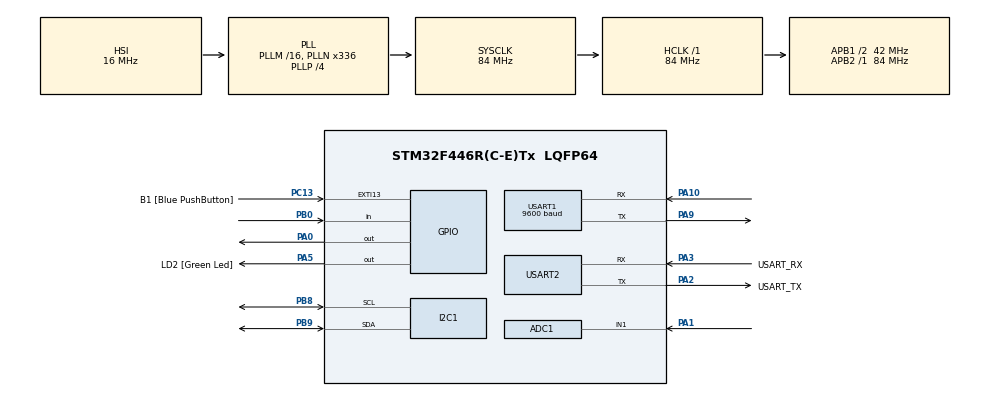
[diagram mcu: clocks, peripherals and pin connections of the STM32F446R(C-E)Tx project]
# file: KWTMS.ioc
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ADC1.Channel-0\#ChannelRegularConversion=ADC_CHANNEL_1
ADC1.ContinuousConvMode=ENABLE
ADC1.NbrOfConversionFlag=1
ADC1.Rank-0\#ChannelRegularConversion=1
ADC1.SamplingTime-0\#ChannelRegularConversion=ADC_SAMPLETIME_3CYCLES
ADC1.master=1
Mcu.Family=STM32F4
Mcu.Name=STM32F446R(C-E)Tx
Mcu.Package=LQFP64
NVIC.PriorityGroup=NVIC_PRIORITYGROUP_0
PA0-WKUP.Signal=GPIO_Output
PA1.Signal=ADCx_IN1
PA10.Mode=Asynchronous
PA10.Signal=USART1_RX
PA13.GPIO_Label=TMS
PA13.Mode=Serial_Wire
PA13.Signal=SYS_JTMS-SWDIO
PA14.GPIO_Label=TCK
PA14.Mode=Serial_Wire
PA14.Signal=SYS_JTCK-SWCLK
PA2.GPIO_Label=USART_TX
PA2.Mode=Asynchronous
PA2.Signal=USART2_TX
PA3.GPIO_Label=USART_RX
PA3.Mode=Asynchronous
PA3.Signal=USART2_RX
PA5.GPIO_Label=LD2 [Green Led]
PA5.GPIO_PuPd=GPIO_PULLUP
PA5.Signal=GPIO_Output
PA9.Mode=Asynchronous
PA9.Signal=USART1_TX
PB0.GPIO_PuPd=GPIO_PULLUP
PB0.Signal=GPIO_Input
PB3.GPIO_Label=SWO
PB3.Signal=SYS_JTDO-SWO
PB8.Mode=I2C
PB8.Signal=I2C1_SCL
PB9.Mode=I2C
PB9.Signal=I2C1_SDA
PC13.GPIO_Label=B1 [Blue PushButton]
PC13.GPIO_ModeDefaultEXTI=GPIO_MODE_IT_FALLING
PC13.GPIO_PuPd=GPIO_PULLUP
PC13.Signal=GPXTI13
PC14-OSC32_IN.Mode=LSE-External-Oscillator
PC14-OSC32_IN.Signal=RCC_OSC32_IN
PC15-OSC32_OUT.Mode=LSE-External-Oscillator
PC15-OSC32_OUT.Signal=RCC_OSC32_OUT
PH0-OSC_IN.Mode=HSE-External-Oscillator
PH0-OSC_IN.Signal=RCC_OSC_IN
PH1-OSC_OUT.Mode=HSE-External-Oscillator
PH1-OSC_OUT.Signal=RCC_OSC_OUT
ProjectManager.HeapSize=0x200
ProjectManager.StackSize=0x400
ProjectManager.TargetToolchain=STM32CubeIDE
RCC.48MHZClocksFreq_Value=84000000
RCC.AHBFreq_Value=84000000
RCC.APB1CLKDivider=RCC_HCLK_DIV2
RCC.APB1Freq_Value=42000000
RCC.APB1TimFreq_Value=84000000
RCC.APB2Freq_Value=84000000
RCC.APB2TimFreq_Value=84000000
RCC.CortexFreq_Value=84000000
RCC.FLatency-AdvancedSettings=FLASH_LATENCY_2
RCC.HCLKFreq_Value=84000000
RCC.HSE_VALUE=8000000
RCC.HSI_VALUE=16000000
RCC.PLLN=336
RCC.PLLP=RCC_PLLP_DIV4
RCC.SYSCLKFreq_VALUE=84000000
RCC.SYSCLKSource=RCC_SYSCLKSOURCE_PLLCLK
RCC.USBFreq_Value=168000000
RCC.VCOOutputFreq_Value=336000000
SH.ADCx_IN1.0=ADC1_IN1,IN1
USART1.BaudRate=9600
USART1.Mode=MODE_TX
USART1.VirtualMode=VM_ASYNC
USART2.VirtualMode=VM_ASYNC
board=NUCLEO-F446RE

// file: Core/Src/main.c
/* USER CODE BEGIN Header */
/**
  ******************************************************************************
  * @file           : main.c
  * @brief          : Main program body
  ******************************************************************************
  * @attention
  *
  * Copyright (c) 2026 STMicroelectronics.
  * All rights reserved.
  *
  * This software is licensed under terms that can be found in the LICENSE file
  * in the root directory of this software component.
  * If no LICENSE file comes with this software, it is provided AS-IS.
  *
  ******************************************************************************
  */
/* USER CODE END Header */
#include "main.h"

/* USER CODE BEGIN Includes */
#include "oled_display.h"
#include "mode.h"
#include "rtd.h"
#include "ebyte_lora.h"
/* USER CODE END Includes */

ADC_HandleTypeDef hadc1;

I2C_HandleTypeDef hi2c1;

UART_HandleTypeDef huart1;
UART_HandleTypeDef huart2;

void SystemClock_Config(void);
static void MX_GPIO_Init(void);
static void MX_USART2_UART_Init(void);
static void MX_I2C1_Init(void);
static void MX_ADC1_Init(void);
static void MX_USART1_UART_Init(void);
/* USER CODE BEGIN PFP */
void SSD1306_Clear(void);
void SSD1306_DisplayMAC(void);
void SSD1306_DrawScrollingText(void);
void SSD1306_DisplayTemperature(float temp);
float ReadTemperature(void);
void CheckButton(void);

void LoRa_SendTemperature(float temp);
/* USER CODE END PFP */

int main(void)
{

  /* MCU Configuration--------------------------------------------------------*/

  /* Reset of all peripherals, Initializes the Flash interface and the Systick. */
  HAL_Init();

  /* Configure the system clock */
  SystemClock_Config();

  /* Initialize all configured peripherals */
  MX_GPIO_Init();
  MX_USART2_UART_Init();
  MX_I2C1_Init();
  MX_ADC1_Init();
  MX_USART1_UART_Init();
  /* USER CODE BEGIN 2 */
  SSD1306_Init();

  /* LED OFF during boot */
  HAL_GPIO_WritePin(GPIOA, GPIO_PIN_0, GPIO_PIN_RESET);

  SSD1306_DisplayImage(image);
  HAL_Delay(5000);

  /* LED ON after logo disappears */
  HAL_GPIO_WritePin(GPIOA, GPIO_PIN_0, GPIO_PIN_SET);

  SSD1306_Clear();

  /* USER CODE END 2 */

  /* Infinite loop */
  /* USER CODE BEGIN WHILE */
  float temperature = 0;

  while (1)
  {
    /* USER CODE END WHILE */
	  CheckButton();

	  	  	    if(currentPage != lastPage)
	  	  	    {
	  	  	        SSD1306_Clear();
	  	  	        lastPage = currentPage;
	  	  	    }

	  	  	    temperature = ReadTemperature();

	  	  	    if(currentPage == 1)
	  	  	    {
	  	  	        SSD1306_DisplayTemperature(temperature);
	  	  	        SSD1306_DrawScrollingText();
	  	  	    }
	  	  	    else
	  	  	    {
	  	  	        SSD1306_DisplayMAC();
	  	  	        SSD1306_DrawScrollingText();
	  	  	    }

	  	  	    LoRa_SendTemperature(temperature);

	  	  	    HAL_Delay(100);
  }
}

void SystemClock_Config(void)
{
  RCC_OscInitTypeDef RCC_OscInitStruct = {0};
  RCC_ClkInitTypeDef RCC_ClkInitStruct = {0};

  /** Configure the main internal regulator output voltage
  */
  __HAL_RCC_PWR_CLK_ENABLE();
  __HAL_PWR_VOLTAGESCALING_CONFIG(PWR_REGULATOR_VOLTAGE_SCALE3);

  /** Initializes the RCC Oscillators according to the specified parameters
  * in the RCC_OscInitTypeDef structure.
  */
  RCC_OscInitStruct.OscillatorType = RCC_OSCILLATORTYPE_HSI;
  RCC_OscInitStruct.HSIState = RCC_HSI_ON;
  RCC_OscInitStruct.HSICalibrationValue = RCC_HSICALIBRATION_DEFAULT;
  RCC_OscInitStruct.PLL.PLLState = RCC_PLL_ON;
  RCC_OscInitStruct.PLL.PLLSource = RCC_PLLSOURCE_HSI;
  RCC_OscInitStruct.PLL.PLLM = 16;
  RCC_OscInitStruct.PLL.PLLN = 336;
  RCC_OscInitStruct.PLL.PLLP = RCC_PLLP_DIV4;
  RCC_OscInitStruct.PLL.PLLQ = 2;
  RCC_OscInitStruct.PLL.PLLR = 2;
  if (HAL_RCC_OscConfig(&RCC_OscInitStruct) != HAL_OK)
  {
    Error_Handler();
  }

  /** Initializes the CPU, AHB and APB buses clocks
  */
  RCC_ClkInitStruct.ClockType = RCC_CLOCKTYPE_HCLK|RCC_CLOCKTYPE_SYSCLK
                              |RCC_CLOCKTYPE_PCLK1|RCC_CLOCKTYPE_PCLK2;
  RCC_ClkInitStruct.SYSCLKSource = RCC_SYSCLKSOURCE_PLLCLK;
  RCC_ClkInitStruct.AHBCLKDivider = RCC_SYSCLK_DIV1;
  RCC_ClkInitStruct.APB1CLKDivider = RCC_HCLK_DIV2;
  RCC_ClkInitStruct.APB2CLKDivider = RCC_HCLK_DIV1;

  if (HAL_RCC_ClockConfig(&RCC_ClkInitStruct, FLASH_LATENCY_2) != HAL_OK)
  {
    Error_Handler();
  }
}

static void MX_ADC1_Init(void)
{

  ADC_ChannelConfTypeDef sConfig = {0};

  /** Configure the global features of the ADC (Clock, Resolution, Data Alignment and number of conversion)
  */
  hadc1.Instance = ADC1;
  hadc1.Init.ClockPrescaler = ADC_CLOCK_SYNC_PCLK_DIV4;
  hadc1.Init.Resolution = ADC_RESOLUTION_12B;
  hadc1.Init.ScanConvMode = DISABLE;
  hadc1.Init.ContinuousConvMode = ENABLE;
  hadc1.Init.DiscontinuousConvMode = DISABLE;
  hadc1.Init.ExternalTrigConvEdge = ADC_EXTERNALTRIGCONVEDGE_NONE;
  hadc1.Init.ExternalTrigConv = ADC_SOFTWARE_START;
  hadc1.Init.DataAlign = ADC_DATAALIGN_RIGHT;
  hadc1.Init.NbrOfConversion = 1;
  hadc1.Init.DMAContinuousRequests = DISABLE;
  hadc1.Init.EOCSelection = ADC_EOC_SINGLE_CONV;
  if (HAL_ADC_Init(&hadc1) != HAL_OK)
  {
    Error_Handler();
  }

  /** Configure for the selected ADC regular channel its corresponding rank in the sequencer and its sample time.
  */
  sConfig.Channel = ADC_CHANNEL_1;
  sConfig.Rank = 1;
  sConfig.SamplingTime = ADC_SAMPLETIME_3CYCLES;
  if (HAL_ADC_ConfigChannel(&hadc1, &sConfig) != HAL_OK)
  {
    Error_Handler();
  }

}

static void MX_I2C1_Init(void)
{

  hi2c1.Instance = I2C1;
  hi2c1.Init.ClockSpeed = 100000;
  hi2c1.Init.DutyCycle = I2C_DUTYCYCLE_2;
  hi2c1.Init.OwnAddress1 = 0;
  hi2c1.Init.AddressingMode = I2C_ADDRESSINGMODE_7BIT;
  hi2c1.Init.DualAddressMode = I2C_DUALADDRESS_DISABLE;
  hi2c1.Init.OwnAddress2 = 0;
  hi2c1.Init.GeneralCallMode = I2C_GENERALCALL_DISABLE;
  hi2c1.Init.NoStretchMode = I2C_NOSTRETCH_DISABLE;
  if (HAL_I2C_Init(&hi2c1) != HAL_OK)
  {
    Error_Handler();
  }

}

static void MX_USART1_UART_Init(void)
{

  huart1.Instance = USART1;
  huart1.Init.BaudRate = 9600;
  huart1.Init.WordLength = UART_WORDLENGTH_8B;
  huart1.Init.StopBits = UART_STOPBITS_1;
  huart1.Init.Parity = UART_PARITY_NONE;
  huart1.Init.Mode = UART_MODE_TX;
  huart1.Init.HwFlowCtl = UART_HWCONTROL_NONE;
  huart1.Init.OverSampling = UART_OVERSAMPLING_16;
  if (HAL_UART_Init(&huart1) != HAL_OK)
  {
    Error_Handler();
  }

}

static void MX_USART2_UART_Init(void)
{

  huart2.Instance = USART2;
  huart2.Init.BaudRate = 115200;
  huart2.Init.WordLength = UART_WORDLENGTH_8B;
  huart2.Init.StopBits = UART_STOPBITS_1;
  huart2.Init.Parity = UART_PARITY_NONE;
  huart2.Init.Mode = UART_MODE_TX_RX;
  huart2.Init.HwFlowCtl = UART_HWCONTROL_NONE;
  huart2.Init.OverSampling = UART_OVERSAMPLING_16;
  if (HAL_UART_Init(&huart2) != HAL_OK)
  {
    Error_Handler();
  }

}

static void MX_GPIO_Init(void)
{
  GPIO_InitTypeDef GPIO_InitStruct = {0};

  /* GPIO Ports Clock Enable */
  __HAL_RCC_GPIOC_CLK_ENABLE();
  __HAL_RCC_GPIOH_CLK_ENABLE();
  __HAL_RCC_GPIOA_CLK_ENABLE();
  __HAL_RCC_GPIOB_CLK_ENABLE();

  /*Configure GPIO pin Output Level */
  HAL_GPIO_WritePin(GPIOA, GPIO_PIN_0|LD2_Pin, GPIO_PIN_RESET);

  /*Configure GPIO pin : B1_Pin */
  GPIO_InitStruct.Pin = B1_Pin;
  GPIO_InitStruct.Mode = GPIO_MODE_IT_FALLING;
  GPIO_InitStruct.Pull = GPIO_PULLUP;
  HAL_GPIO_Init(B1_GPIO_Port, &GPIO_InitStruct);

  /*Configure GPIO pin : PA0 */
  GPIO_InitStruct.Pin = GPIO_PIN_0;
  GPIO_InitStruct.Mode = GPIO_MODE_OUTPUT_PP;
  GPIO_InitStruct.Pull = GPIO_NOPULL;
  GPIO_InitStruct.Speed = GPIO_SPEED_FREQ_LOW;
  HAL_GPIO_Init(GPIOA, &GPIO_InitStruct);

  /*Configure GPIO pin : LD2_Pin */
  GPIO_InitStruct.Pin = LD2_Pin;
  GPIO_InitStruct.Mode = GPIO_MODE_OUTPUT_PP;
  GPIO_InitStruct.Pull = GPIO_PULLUP;
  GPIO_InitStruct.Speed = GPIO_SPEED_FREQ_LOW;
  HAL_GPIO_Init(LD2_GPIO_Port, &GPIO_InitStruct);

  /*Configure GPIO pin : PB0 */
  GPIO_InitStruct.Pin = GPIO_PIN_0;
  GPIO_InitStruct.Mode = GPIO_MODE_INPUT;
  GPIO_InitStruct.Pull = GPIO_PULLUP;
  HAL_GPIO_Init(GPIOB, &GPIO_InitStruct);

}

void Error_Handler(void)
{
  __disable_irq();
  while (1)
  {
  }
}
